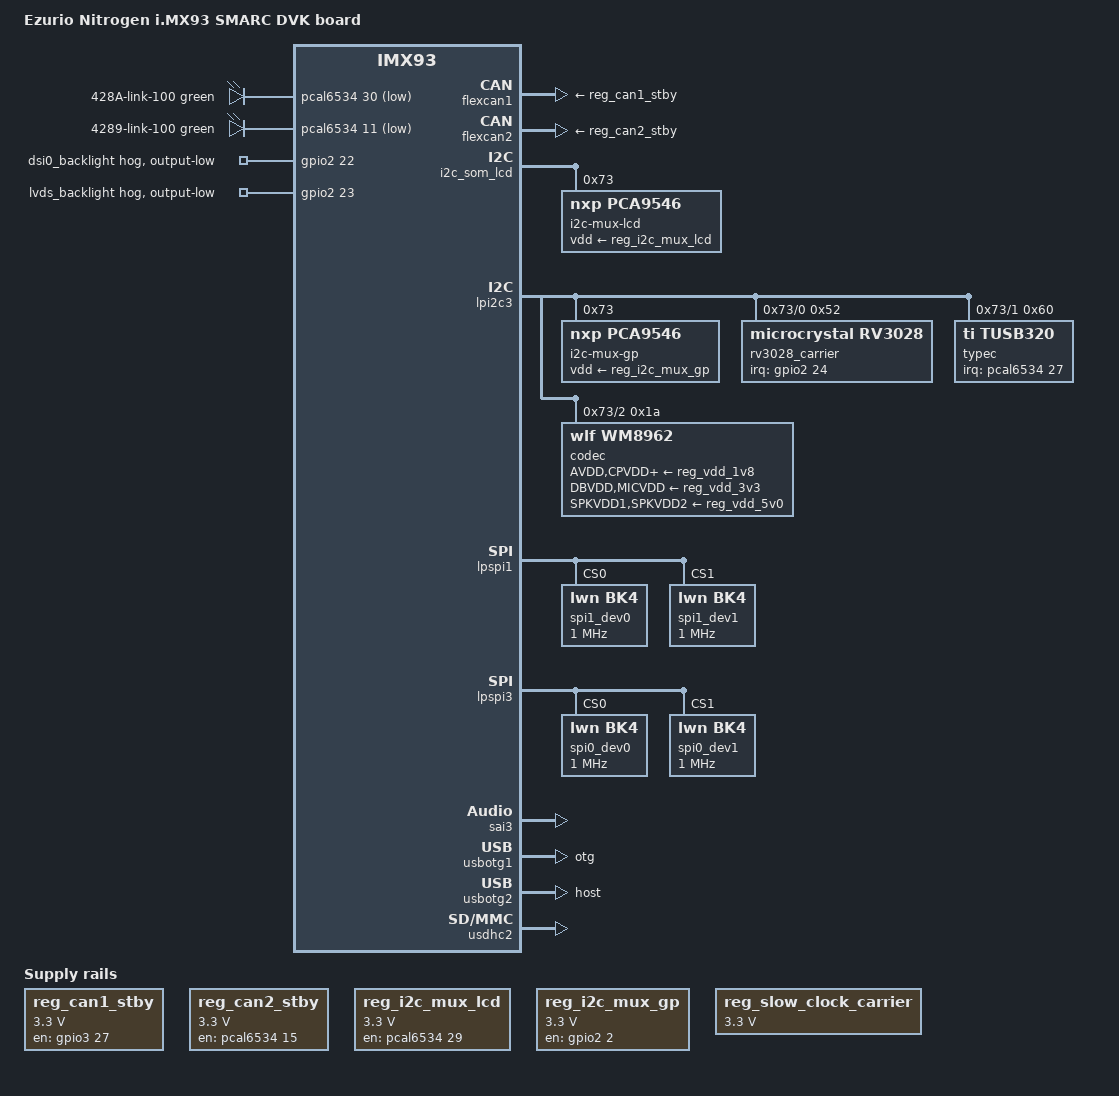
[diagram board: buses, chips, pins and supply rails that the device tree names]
// SPDX-License-Identifier: (GPL-2.0-or-later OR MIT)
/*
 * Copyright 2024 Ezurio LLC
 */

/dts-v1/;

#include "nitrogen-imx93-smarc.dtsi"

/ {
	model = "Ezurio Nitrogen i.MX93 SMARC DVK board";
	compatible = "summit,nitrogen-imx93-smarc-dvk", "fsl,imx93";

	aliases {
		rtc0 = &rv3028_carrier;
		rtc1 = &bbnsm_rtc;
	};

	led-controller {
		compatible = "gpio-leds";

		led-0 {
			label = "428A-link-100";
			function = LED_FUNCTION_STATUS;
			color = <LED_COLOR_ID_GREEN>;
			gpios = <&pcal6534 30 GPIO_ACTIVE_LOW>;
			default-state = "off";
			linux,default-trigger = "stmmac-1:07:100Mbps";
		};

		led-1 {
			label = "4289-link-100";
			function = LED_FUNCTION_STATUS;
			color = <LED_COLOR_ID_GREEN>;
			gpios = <&pcal6534 11 GPIO_ACTIVE_LOW>;
			default-state = "off";
			linux,default-trigger = "42890000.ethernet-1:07:100Mbps";
		};
	};

	reg_can1_stby: regulator-can1-stby {
		compatible = "regulator-fixed";

		regulator-name = "reg_can1_stby";
		regulator-min-microvolt = <3300000>;
		regulator-max-microvolt = <3300000>;

		pinctrl-names = "default";
		pinctrl-0 = <&pinctrl_reg_can1_stby>;
		gpio = <&gpio3 27 GPIO_ACTIVE_HIGH>; /* CCM_CLK02 -> GPIO1 */
		enable-active-high;
	};

	reg_can2_stby: regulator-can2-stby {
		compatible = "regulator-fixed";

		regulator-name = "reg_can2_stby";
		regulator-min-microvolt = <3300000>;
		regulator-max-microvolt = <3300000>;

		gpio = <&pcal6534 15 GPIO_ACTIVE_HIGH>; /* P1_7 -> GPIO4 */
		enable-active-high;
	};

	reg_i2c_mux_lcd: regulator-i2c-mux-lcd {
		compatible = "regulator-fixed";

		regulator-name = "reg_i2c_mux_lcd";
		regulator-min-microvolt = <3300000>;
		regulator-max-microvolt = <3300000>;

		gpio = <&pcal6534 29 GPIO_ACTIVE_HIGH>; /* P3_5 / GPIO_13 */
		enable-active-high;
	};

	reg_i2c_mux_gp: regulator-i2c-mux-gp {
		compatible = "regulator-fixed";

		regulator-name = "reg_i2c_mux_gp";
		regulator-min-microvolt = <3300000>;
		regulator-max-microvolt = <3300000>;

		gpio = <&gpio2 2 GPIO_ACTIVE_HIGH>; /* SMARC GPIO6 */
		enable-active-high;
	};

	reg_slow_clock_carrier: regulator-slow-clock-carrier {
		compatible = "regulator-fixed-clock";

		regulator-name = "reg_slow_clock_carrier";
		regulator-min-microvolt = <3300000>;
		regulator-max-microvolt = <3300000>;

		clocks = <&rv3028_carrier>;

		startup-delay-us = <1000>;
	};

	sound-wm8962 {
		compatible = "fsl,imx-audio-wm8962";
		model = "wm8962-audio";
		audio-cpu = <&sai3>;
		audio-codec = <&codec>;
		audio-routing =
			"Headphone Jack", "HPOUTL",
			"Headphone Jack", "HPOUTR",
			"Ext Spk", "SPKOUTL",
			"Ext Spk", "SPKOUTR",
			"AMIC", "MICBIAS",
			"IN3R", "AMIC",
			"IN1R", "AMIC";
		codec-master;
	};
};

&gpio2 {
	dsi0_backlight: dsi0-backlight {
		gpio-hog;
		gpios = <22 GPIO_ACTIVE_HIGH>; /* SMARC GPIO22 */
		output-low;
	};

	lvds_backlight: lvds-backlight {
		gpio-hog;
		gpios = <23 GPIO_ACTIVE_HIGH>; /* SMARC GPIO23 */
		output-low;
	};
};

&flexcan1 {
	status = "okay";
	xceiver-supply = <&reg_can1_stby>;
};

&flexcan2 {
	status = "okay";
	xceiver-supply = <&reg_can2_stby>;
};

/* LCD I2C */
&i2c_som_lcd {
	i2c-mux-lcd@73 {
		compatible = "nxp,pca9546";
		reg = <0x73>;

		vdd-supply = <&reg_i2c_mux_lcd>;

		#address-cells = <1>;
		#size-cells = <0>;

		i2c_lcd_exp1: i2c-mux-lcd@0 {
			/* EXP1 I2C */
			reg = <0>;
			#address-cells = <1>;
			#size-cells = <0>;
		};

		i2c_lcd_exp2: i2c-mux-lcd@1 {
			/* EXP2 I2C */
			reg = <1>;
			#address-cells = <1>;
			#size-cells = <0>;
		};

		i2c_lcd_dsi0: i2c-mux-lcd@2 {
			/* DSI0 I2C */
			reg = <2>;
			#address-cells = <1>;
			#size-cells = <0>;
		};

		i2c_lcd_dsi1: i2c-mux-lcd@3 {
			/* DSI1 I2C */
			reg = <3>;
			#address-cells = <1>;
			#size-cells = <0>;
		};
	};
};

&lpi2c3 { /* SM_I2C_GP */
	status = "okay";

	i2c-mux-gp@73 {
		compatible = "nxp,pca9546";
		reg = <0x73>;

		vdd-supply = <&reg_i2c_mux_gp>;

		#address-cells = <1>;
		#size-cells = <0>;

		i2c_gp_rtc: i2c-mux-gp@0 {
			/* RTC */
			reg = <0>;
			#address-cells = <1>;
			#size-cells = <0>;

			rv3028_carrier: rv3028-carrier@52 {
				compatible = "microcrystal,rv3028";
				reg = <0x52>;

				backup-switchover-dsm;
				#clock-cells = <0>;

				pinctrl-names = "default";
				pinctrl-0 = <&pinctrl_rv3028_carrier>;
				interrupts-extended = <&gpio2 24 IRQ_TYPE_LEVEL_LOW>; /* SMARC GPIO12 */
				wakeup-source;
			};
		};

		i2c_gp_usbc: i2c-mux-gp@1 {
			/* USB C */
			reg = <1>;
			#address-cells = <1>;
			#size-cells = <0>;

			typec: typec@47 {
				compatible = "ti,tusb320";
				reg = <0x60>;
				interrupts-extended = <&pcal6534 27 IRQ_TYPE_EDGE_FALLING>; /* P3_3 GPIO_11 */
			};
		};

		i2c_gp_aud: i2c-mux-gp@2 {
			/* audio */
			reg = <2>;
			#address-cells = <1>;
			#size-cells = <0>;

			codec: wm8962@1a {
				compatible = "wlf,wm8962";
				reg = <0x1a>;
				clocks = <&clk IMX93_CLK_SAI3_GATE>;
				AVDD-supply = <&reg_vdd_1v8>;
				CPVDD-supply = <&reg_vdd_1v8>;
				DBVDD-supply = <&reg_vdd_3v3>;
				DCVDD-supply = <&reg_vdd_1v8>;
				MICVDD-supply = <&reg_vdd_3v3>;
				PLLVDD-supply = <&reg_vdd_1v8>;
				SPKVDD1-supply = <&reg_vdd_5v0>;
				SPKVDD2-supply = <&reg_vdd_5v0>;
				gpio-cfg = <
					0x0000 /* n/c */
					0x0000 /* gpio2: */
					0x0000 /* gpio3: */
					0x0000 /* n/c */
					0x8081 /* gpio5:HP detect */
					0x8095 /* gpio6:Mic detect */
				>;
				gpio-line-names = "N/C", "GPIO2",
					"GPIO3", "N/C",
					"GPIO5:HP detect",
					"GPIO6:Mic detect";
			};
		};

		i2c_gp_pcie: i2c-mux-gp@3 {
			/* pcie */
			reg = <3>;
			#address-cells = <1>;
			#size-cells = <0>;
		};
	};
};

&lpspi1 {
	status = "okay";

	spi1_dev0: spi1@0 {
		reg = <0>;
		compatible = "lwn,bk4";
		spi-max-frequency = <1000000>;
	};

	spi1_dev1: spi1@1 {
		reg = <1>;
		compatible = "lwn,bk4";
		spi-max-frequency = <1000000>;
	};
};

&lpspi3 {
	status = "okay";

	spi0_dev0: spi0@0 {
		reg = <0>;
		compatible = "lwn,bk4";
		spi-max-frequency = <1000000>;
	};

	spi0_dev1: spi0@1 {
		reg = <1>;
		compatible = "lwn,bk4";
		spi-max-frequency = <1000000>;
	};
};

/* I2S0 */
&sai3 {
	#sound-dai-cells = <0>;
	pinctrl-names = "default";
	pinctrl-0 = <&pinctrl_sai3>;
	assigned-clocks = <&clk IMX93_CLK_SAI3>;
	assigned-clock-parents = <&clk IMX93_CLK_AUDIO_PLL>;
	/* wm8962 needs MCLK 14 - 40 MHz */
	assigned-clock-rates = <24000000>;
	fsl,sai-mclk-direction-output;
	status = "okay";
};

/* USB-C */
&usbotg1 {
	dr_mode = "otg";
	hnp-disable;
	srp-disable;
	adp-disable;
	usb-role-switch;
	disable-over-current;
	status = "okay";

	// 1st VBUS detect, 2nd CC detect
	extcon = <&typec>, <&typec>;
};

&usbotg2 { /* J2 */
	dr_mode = "host";
	disable-over-current;
	samsung,picophy-pre-emp-curr-control = <3>;
	samsung,picophy-dc-vol-level-adjust = <7>;
	status = "okay";
};

&usdhc2 { /* SDIO - SDCARD */
	status = "okay";

	// SD card power on the carrier board is not connected to control signal, 
	// as such SD card cannot be reset, thus disabling 1.8V
	//no-1-8-v;
};

&iomuxc {
	pinctrl_reg_can1_stby: pinctrl-reg-can1-stby {
		fsl,pins = <
			MX93_PAD_CCM_CLKO2__GPIO3_IO27   0x31e
		>;
	};

	pinctrl_rv3028_carrier: pinctrl-rv3028-carrier {
		fsl,pins = <
			MX93_PAD_GPIO_IO24__GPIO2_IO24   0x131e
		>;
	};
};
